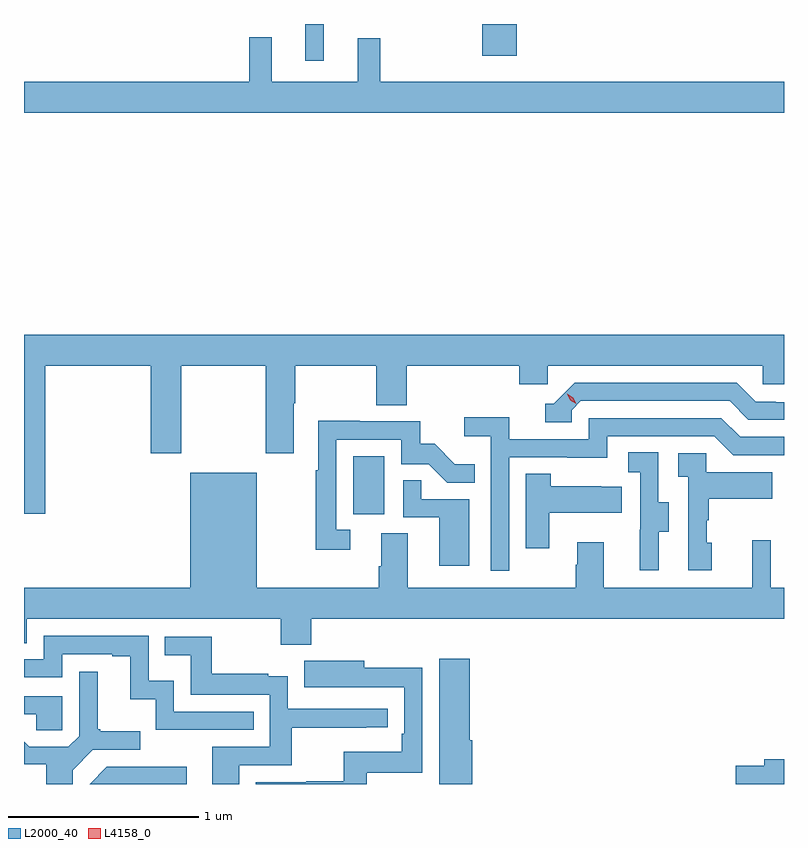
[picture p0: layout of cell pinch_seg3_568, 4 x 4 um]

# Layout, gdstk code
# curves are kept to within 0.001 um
import gdstk
lib = gdstk.Library(unit=1e-6, precision=1e-09)
def R(c, l, rs):  # rectangles x0, y0, x1, y1
    for r in rs: c.add(gdstk.rectangle(r[:2], r[2:], *l))
def P(c, l, *ps):  # polygons
    for p in ps: c.add(gdstk.Polygon(p, *l))
L2000_40 = (2000, 40)
L4158_0 = (4158, 0)

pinch_seg3_568 = lib.new_cell('pinch_seg3_568')
R(pinch_seg3_568, L2000_40, [(1034.228,705.462,1034.392,705.769), (1033.976,707.85,1034.073,708.043), (1034.906,707.877,1035.089,708.043)])
P(pinch_seg3_568, L2000_40, [(1036.495,707.74),(1034.369,707.74),(1034.369,707.968),(1034.252,707.968),(1034.252,707.74),(1033.799,707.74),(1033.799,707.974),(1033.681,707.974),(1033.681,707.74),(1032.495,707.74),(1032.495,707.576),(1036.495,707.576)],
  [(1032.608,706.244),(1033.163,706.244),(1033.163,705.783),(1033.323,705.783),(1033.323,706.244),(1033.768,706.244),(1033.768,705.783),(1033.915,705.783),(1033.915,706.048),(1033.923,706.048),(1033.923,706.244),(1034.35,706.244),(1034.35,706.036),(1034.51,706.036),(1034.51,706.244),(1035.101,706.244),(1035.101,706.146),(1035.252,706.146),(1035.252,706.244),(1036.383,706.244),(1036.383,706.146),(1036.495,706.146),(1036.495,706.408),(1032.495,706.408),(1032.495,705.465),(1032.608,705.465)],
  [(1035.378,706.011),(1035.426,706.059),(1036.209,706.059),(1036.308,705.96),(1036.495,705.96),(1036.495,706.053),(1036.452,706.053),(1036.452,706.056),(1036.345,706.056),(1036.246,706.155),(1035.393,706.155),(1035.282,706.044),(1035.239,706.044),(1035.239,705.948),(1035.378,705.948)],
  [(1035.048,705.762),(1035.564,705.761),(1035.564,705.873),(1036.128,705.873),(1036.227,705.774),(1036.495,705.774),(1036.495,705.87),(1036.264,705.87),(1036.165,705.969),(1035.468,705.969),(1035.468,705.858),(1035.05,705.858),(1035.05,705.974),(1034.811,705.974),(1034.811,705.872),(1034.952,705.872),(1034.952,705.165),(1035.048,705.165)],
  [(1034.212,705.381),(1034.139,705.381),(1034.139,705.855),(1034.481,705.855),(1034.481,705.726),(1034.625,705.726),(1034.723,705.628),(1034.867,705.628),(1034.867,705.727),(1034.763,705.727),(1034.656,705.834),(1034.58,705.834),(1034.58,705.951),(1034.261,705.951),(1034.261,705.956),(1034.043,705.956),(1034.043,705.695),(1034.031,705.695),(1034.031,705.276),(1034.212,705.276)],
  [(1035.835,705.37),(1035.889,705.37),(1035.889,705.525),(1035.834,705.525),(1035.834,705.788),(1035.675,705.788),(1035.675,705.685),(1035.738,705.685),(1035.738,705.381),(1035.737,705.381),(1035.737,705.168),(1035.835,705.168)],
  [(1036.114,705.312),(1036.089,705.312),(1036.089,705.431),(1036.099,705.431),(1036.099,705.545),(1036.433,705.545),(1036.433,705.685),(1036.086,705.685),(1036.086,705.783),(1035.939,705.783),(1035.939,705.659),(1035.99,705.659),(1035.99,705.168),(1036.114,705.168)],
  [(1036.495,705.076),(1036.425,705.076),(1036.425,705.325),(1036.328,705.325),(1036.328,705.076),(1035.547,705.076),(1035.547,705.316),(1035.407,705.316),(1035.407,705.197),(1035.4,705.197),(1035.4,705.076),(1034.515,705.076),(1034.515,705.362),(1034.375,705.362),(1034.375,705.188),(1034.363,705.188),(1034.363,705.076),(1033.72,705.076),(1033.72,705.682),(1033.37,705.682),(1033.37,705.076),(1032.495,705.076),(1032.495,704.785),(1032.51,704.785),(1032.51,704.912),(1033.846,704.912),(1033.846,704.777),(1034.006,704.777),(1034.006,704.912),(1036.495,704.912)],
  [(1035.259,705.47),(1035.641,705.47),(1035.641,705.607),(1035.533,705.607),(1035.533,705.61),(1035.267,705.61),(1035.267,705.677),(1035.137,705.677),(1035.137,705.285),(1035.259,705.285)],
  [(1034.839,705.543),(1034.585,705.543),(1034.585,705.641),(1034.49,705.641),(1034.49,705.447),(1034.681,705.447),(1034.681,705.192),(1034.839,705.192)],
  [(1033.703,704.424),(1033.284,704.424),(1033.284,704.587),(1033.152,704.587),(1033.152,704.823),(1032.6,704.823),(1032.6,704.7),(1032.495,704.7),(1032.495,704.604),(1032.696,704.604),(1032.696,704.727),(1032.959,704.727),(1032.959,704.715),(1033.055,704.715),(1033.055,704.489),(1033.188,704.489),(1033.188,704.328),(1033.703,704.328)],
  [(1033.627,704.142),(1033.904,704.142),(1033.904,704.338),(1034.297,704.338),(1034.297,704.343),(1034.41,704.343),(1034.41,704.439),(1033.884,704.439),(1033.884,704.611),(1033.781,704.611),(1033.781,704.623),(1033.483,704.623),(1033.483,704.817),(1033.237,704.817),(1033.237,704.72),(1033.372,704.72),(1033.372,704.514),(1033.788,704.514),(1033.788,704.238),(1033.487,704.238),(1033.487,704.043),(1033.627,704.043)],
  [(1034.854,704.274),(1034.842,704.274),(1034.842,704.701),(1034.681,704.701),(1034.681,704.043),(1034.854,704.043)],
  [(1034.299,704.103),(1034.592,704.103),(1034.592,704.654),(1034.287,704.654),(1034.287,704.692),(1033.969,704.692),(1033.969,704.552),(1034.183,704.552),(1034.183,704.553),(1034.496,704.553),(1034.496,704.308),(1034.483,704.308),(1034.483,704.212),(1034.178,704.212),(1034.178,704.057),(1033.981,704.057),(1033.981,704.052),(1033.716,704.052),(1033.716,704.043),(1034.299,704.043)],
  [(1032.751,704.116),(1032.858,704.223),(1033.108,704.223),(1033.108,704.32),(1032.895,704.32),(1032.895,704.332),(1032.883,704.332),(1032.883,704.635),(1032.786,704.635),(1032.786,704.295),(1032.729,704.238),(1032.523,704.238),(1032.495,704.266),(1032.495,704.146),(1032.611,704.146),(1032.611,704.043),(1032.751,704.043)],
  [(1032.696,704.505),(1032.495,704.505),(1032.495,704.409),(1032.559,704.409),(1032.559,704.325),(1032.696,704.325)],
  [(1036.495,704.174),(1036.391,704.174),(1036.391,704.138),(1036.242,704.138),(1036.242,704.043),(1036.495,704.043)],
  [(1033.351,704.135),(1033.146,704.135),(1033.146,704.133),(1032.93,704.133),(1032.84,704.043),(1033.351,704.043)])
P(pinch_seg3_568, L4158_0, [(1035.401,706.045),(1035.371,706.064),(1035.355,706.097),(1035.355,706.097),(1035.355,706.097),(1035.386,706.077),(1035.401,706.045),(1035.401,706.045)])

lib.write_gds('pinch_seg3_568.gds')
